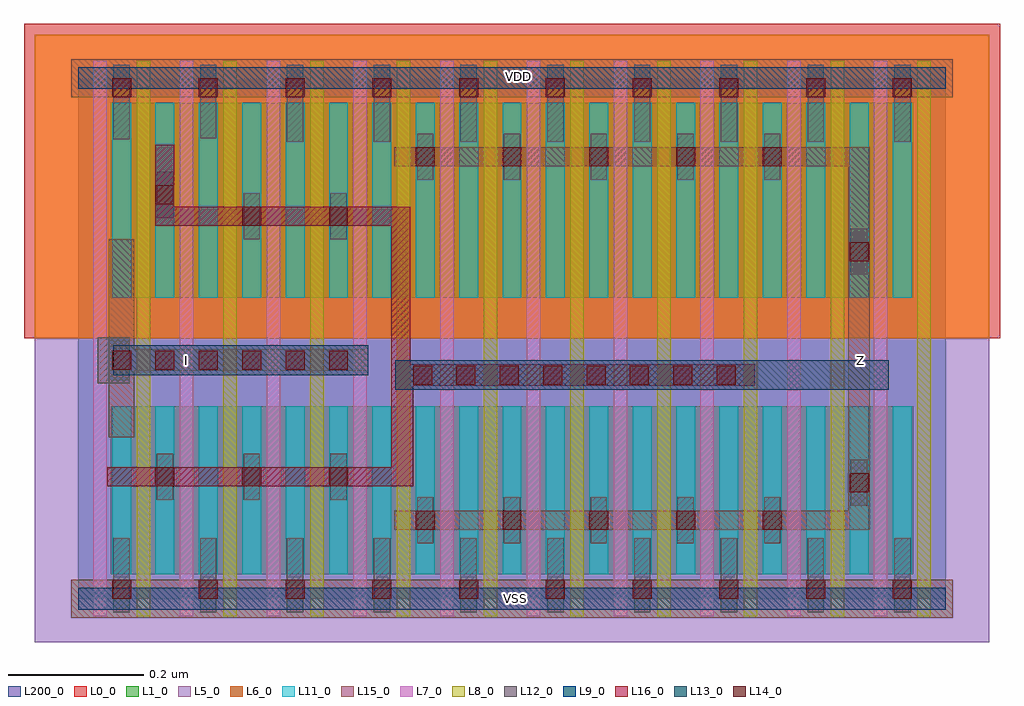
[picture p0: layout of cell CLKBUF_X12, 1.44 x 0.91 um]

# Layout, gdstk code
import gdstk
lib = gdstk.Library(unit=1e-6, precision=1e-09)
def R(c, l, rs):  # rectangles x0, y0, x1, y1
    for r in rs: c.add(gdstk.rectangle(r[:2], r[2:], *l))
def A(c, l, x, y, w, h, nx, ny, dx, dy):  # array of equal rectangles
    R(c, l, [(x+i*dx, y+j*dy, x+i*dx+w, y+j*dy+h) for i in range(nx) for j in range(ny)])
def P(c, l, *ps):  # polygons
    for p in ps: c.add(gdstk.Polygon(p, *l))
L0_0 = (0, 0)
L1_0 = (1, 0)
L5_0 = (5, 0)
L6_0 = (6, 0)
L7_0 = (7, 0)
L8_0 = (8, 0)
L9_0 = (9, 0)
L11_0 = (11, 0)
L12_0 = (12, 0)
L13_0 = (13, 0)
L14_0 = (14, 0)
L15_0 = (15, 0)
L16_0 = (16, 0)
L200_0 = (200, 0)

clkbuf_x12 = lib.new_cell('CLKBUF_X12')
R(clkbuf_x12, L0_0, [(-0.08,0.384,1.36,0.848)])
R(clkbuf_x12, L1_0, [(0.048,0.036,1.232,0.284), (0.048,0.444,1.232,0.732)])
R(clkbuf_x12, L5_0, [(-0.064,-0.064,1.344,0.384)])
R(clkbuf_x12, L6_0, [(-0.064,0.384,1.344,0.832)])
A(clkbuf_x12, L7_0, 0.022, -0.026, 0.02, 0.82, 10, 1, 0.128, 0)
A(clkbuf_x12, L8_0, 0.086, -0.026, 0.02, 0.82, 10, 1, 0.128, 0)
R(clkbuf_x12, L9_0, [(0,-0.016,1.28,0.016), (0,0.752,1.28,0.784)])
A(clkbuf_x12, L11_0, 0.05, 0.036, 0.028, 0.248, 19, 1, 0.064, 0)
A(clkbuf_x12, L11_0, 0.05, 0.444, 0.028, 0.288, 19, 1, 0.064, 0)
A(clkbuf_x12, L12_0, 0.052, -0.02, 0.024, 0.109, 10, 1, 0.128, 0)
A(clkbuf_x12, L12_0, 0.5, 0.082, 0.024, 0.068, 5, 2, 0.128, 0.536)
A(clkbuf_x12, L12_0, 0.116, 0.146, 0.024, 0.068, 3, 1, 0.128, 0)
A(clkbuf_x12, L12_0, 0.308, 0.674, 0.024, 0.114, 8, 1, 0.128, 0)
R(clkbuf_x12, L12_0, [(1.14,0.137,1.164,0.205), (0.029,0.318,0.076,0.386), (1.14,0.478,1.164,0.546), (0.244,0.53,0.268,0.598), (0.372,0.53,0.396,0.598), (0.116,0.562,0.14,0.63), (0.052,0.678,0.076,0.788), (0.18,0.679,0.204,0.788)])
R(clkbuf_x12, L13_0, [(0.468,0.308,1.196,0.352), (0.052,0.33,0.428,0.374)])
A(clkbuf_x12, L14_0, 0.05, 0, 0.028, 0.028, 10, 2, 0.128, 0.74)
A(clkbuf_x12, L14_0, 0.498, 0.102, 0.028, 0.028, 5, 2, 0.128, 0.536)
A(clkbuf_x12, L14_0, 0.114, 0.166, 0.028, 0.028, 3, 1, 0.128, 0)
A(clkbuf_x12, L14_0, 0.494, 0.316, 0.028, 0.028, 8, 1, 0.064, 0)
A(clkbuf_x12, L14_0, 0.05, 0.338, 0.028, 0.028, 6, 1, 0.064, 0)
R(clkbuf_x12, L14_0, [(1.138,0.157,1.166,0.185), (1.138,0.498,1.166,0.526), (0.242,0.55,0.27,0.578), (0.37,0.55,0.398,0.578), (0.114,0.582,0.142,0.61)])
R(clkbuf_x12, L15_0, [(-0.01,-0.028,1.29,0.028), (-0.01,0.74,1.29,0.796)])
P(clkbuf_x12, L15_0, [(0.045,0.238),(0.083,0.238),(0.083,0.336),(0.426,0.336),(0.426,0.368),(0.083,0.368),(0.083,0.53),(0.045,0.53)],
  [(0.466,0.638),(1.136,0.638),(1.136,0.13),(0.466,0.13),(0.466,0.102),(1.168,0.102),(1.168,0.666),(0.466,0.666)])
P(clkbuf_x12, L16_0, [(0.114,0.55),(0.462,0.55),(0.462,0.194),(0.043,0.194),(0.043,0.166),(0.494,0.166),(0.494,0.314),(0.998,0.314),(0.998,0.346),(0.49,0.346),(0.49,0.578),(0.142,0.578),(0.142,0.67),(0.114,0.67)])
R(clkbuf_x12, L200_0, [(0,0,1.28,0.768)])
clkbuf_x12.add(gdstk.Label('VSS', (0.645,0.001), layer=15, texttype=20))
clkbuf_x12.add(gdstk.Label('I', (0.16,0.352), layer=15, texttype=20))
clkbuf_x12.add(gdstk.Label('Z', (1.154,0.352), layer=15, texttype=20))
clkbuf_x12.add(gdstk.Label('VDD', (0.649,0.77), layer=15, texttype=20))

lib.write_gds('CLKBUF_X12.gds')
